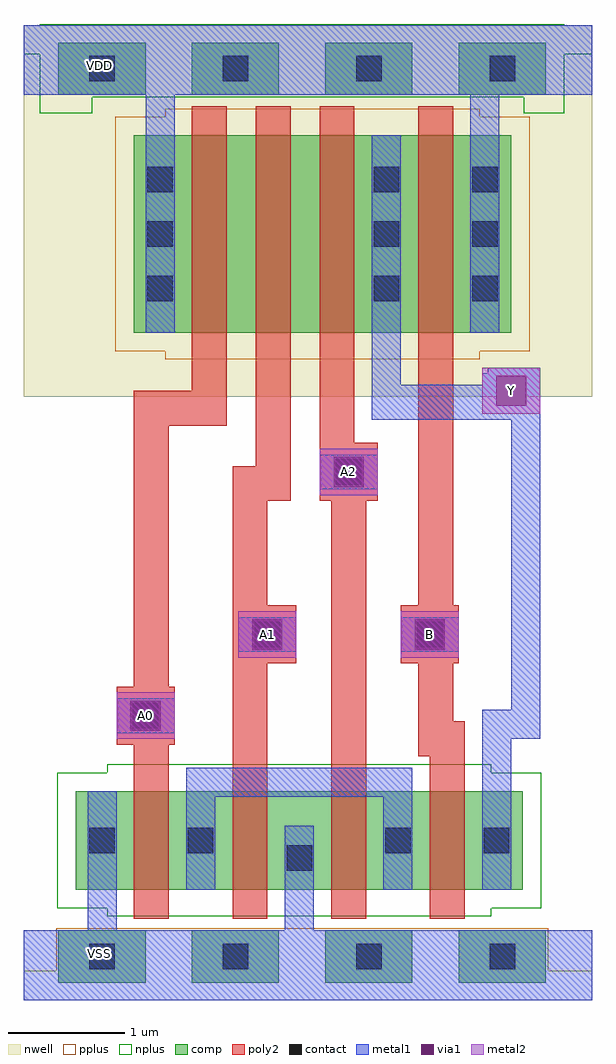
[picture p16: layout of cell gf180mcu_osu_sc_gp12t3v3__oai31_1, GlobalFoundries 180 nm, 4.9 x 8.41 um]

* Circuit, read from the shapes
.subckt gf180mcu_osu_sc_gp12t3v3__oai31_1 A0 A1 A2 B VDD VSS Y
XM1 n1 A0 VSS VSS nfet_03v3 w=0.85u l=0.3u
XM2 VSS A1 n1 VSS nfet_03v3 w=0.85u l=0.3u
XM3 n1 A2 VSS VSS nfet_03v3 w=0.85u l=0.3u
XM4 Y B n1 VSS nfet_03v3 w=0.85u l=0.3u
XM5 n2 A0 VDD VDD pfet_03v3 w=1.7u l=0.3u
XM6 n3 A1 n2 VDD pfet_03v3 w=1.7u l=0.3u
XM7 Y A2 n3 VDD pfet_03v3 w=1.7u l=0.3u
XM8 VDD B Y VDD pfet_03v3 w=1.7u l=0.3u
.ends

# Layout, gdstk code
import gdstk
lib = gdstk.Library(unit=1e-6, precision=1e-09)
def R(c, l, rs):  # rectangles x0, y0, x1, y1
    for r in rs: c.add(gdstk.rectangle(r[:2], r[2:], *l))
def A(c, l, x, y, w, h, nx, ny, dx, dy):  # array of equal rectangles
    R(c, l, [(x+i*dx, y+j*dy, x+i*dx+w, y+j*dy+h) for i in range(nx) for j in range(ny)])
nwell = (21, 0)
comp = (22, 0)
poly2 = (30, 0)
pplus = (31, 0)
nplus = (32, 0)
contact = (33, 0)
metal1 = (34, 0)
via1 = (35, 0)
metal2 = (36, 0)

gf180mcu_osu_sc_gp12t3v3 = lib.new_cell('gf180mcu_osu_sc_gp12t3v3__oai31_1')
R(gf180mcu_osu_sc_gp12t3v3, nwell, [(0,5.2,4.9,8.4)])
A(gf180mcu_osu_sc_gp12t3v3, comp, 0.3, 0.15, 0.75, 0.45, 4, 2, 1.15, 7.65)
R(gf180mcu_osu_sc_gp12t3v3, comp, [(0.45,0.95,4.3,1.8), (0.95,5.75,4.2,7.45)])
R(gf180mcu_osu_sc_gp12t3v3, poly2, [(0.95,0.7,1.25,2.2), (1.8,0.7,2.1,2.9), (2.65,0.7,2.95,4.3), (3.5,0.7,3.8,2.1), (3.4,2.1,3.8,2.4), (0.8,2.2,1.3,2.7), (3.4,2.4,3.7,2.9), (0.95,2.7,1.25,4.95), (1.8,2.9,2.35,3.4), (3.25,2.9,3.75,3.4), (1.8,3.4,2.1,4.3), (3.4,3.4,3.7,7.7), (1.8,4.3,2.3,4.6), (2.55,4.3,3.05,4.8), (2,4.6,2.3,7.7), (2.55,4.8,2.85,7.7), (0.95,4.95,1.75,5.25), (1.45,5.25,1.75,7.7)])
R(gf180mcu_osu_sc_gp12t3v3, pplus, [(0,0,4.9,0.25), (0.28,0.13,4.52,0.62), (1.22,5.52,3.93,5.59), (0.79,5.59,4.36,7.61), (1.22,7.61,3.93,7.68)])
R(gf180mcu_osu_sc_gp12t3v3, nplus, [(0.72,0.72,4.03,0.79), (0.29,0.79,4.46,1.96), (0.72,1.96,4.03,2.03), (0.14,7.64,0.59,7.78), (4.31,7.64,4.66,7.78), (0.14,7.78,4.66,8.15), (0,8.15,4.9,8.4), (0,8.15,4.9,8.4), (0.14,8.4,4.66,8.41)])
A(gf180mcu_osu_sc_gp12t3v3, contact, 0.565, 0.265, 0.22, 0.22, 4, 2, 1.15, 7.65)
A(gf180mcu_osu_sc_gp12t3v3, contact, 1.065, 6.02, 0.22, 0.22, 1, 3, 0, 0.47)
A(gf180mcu_osu_sc_gp12t3v3, contact, 3.015, 6.02, 0.22, 0.22, 1, 3, 0, 0.47)
A(gf180mcu_osu_sc_gp12t3v3, contact, 3.865, 6.02, 0.22, 0.22, 1, 3, 0, 0.47)
R(gf180mcu_osu_sc_gp12t3v3, contact, [(2.265,1.115,2.485,1.335), (0.565,1.265,0.785,1.485), (1.415,1.265,1.635,1.485), (3.115,1.265,3.335,1.485), (3.965,1.265,4.185,1.485), (0.94,2.34,1.16,2.56), (1.99,3.04,2.21,3.26), (3.39,3.04,3.61,3.26), (2.69,4.44,2.91,4.66)])
R(gf180mcu_osu_sc_gp12t3v3, metal1, [(0,0,4.9,0.6), (0.55,0.6,0.8,1.8), (2.25,0.6,2.5,1.5), (1.4,0.95,1.65,1.75), (3.1,0.95,3.35,1.75), (3.95,0.95,4.2,2.25), (1.4,1.75,3.35,2), (3.95,2.25,4.45,2.5), (0.8,2.3,1.3,2.6), (4.2,2.5,4.45,5), (1.85,3,2.35,3.3), (3.25,3,3.75,3.3), (2.55,4.4,3.05,4.7), (3,5,4.45,5.3), (3,5.3,3.25,7.45), (3.95,5.3,4.45,5.4), (4,5.4,4.45,5.45), (1.05,5.75,1.3,7.8), (3.85,5.75,4.1,7.8), (0,7.8,4.9,8.4)])
R(gf180mcu_osu_sc_gp12t3v3, via1, [(0.92,2.32,1.18,2.58), (1.97,3.02,2.23,3.28), (3.37,3.02,3.63,3.28), (2.67,4.42,2.93,4.68), (4.07,5.12,4.33,5.38)])
R(gf180mcu_osu_sc_gp12t3v3, metal2, [(0.8,2.25,1.3,2.65), (1.85,2.95,2.35,3.35), (3.25,2.95,3.75,3.35), (2.55,4.35,3.05,4.75), (3.95,5.05,4.45,5.45)])
gf180mcu_osu_sc_gp12t3v3.add(gdstk.Label('A0', (1.05,2.45), layer=36, texttype=10))
gf180mcu_osu_sc_gp12t3v3.add(gdstk.Label('A1', (2.1,3.15), layer=36, texttype=10))
gf180mcu_osu_sc_gp12t3v3.add(gdstk.Label('A2', (2.8,4.55), layer=36, texttype=10))
gf180mcu_osu_sc_gp12t3v3.add(gdstk.Label('B', (3.5,3.15), layer=36, texttype=10))
gf180mcu_osu_sc_gp12t3v3.add(gdstk.Label('Y', (4.2,5.25), layer=36, texttype=10))
gf180mcu_osu_sc_gp12t3v3.add(gdstk.Label('VDD', (0.65,8.05), layer=34, texttype=10))
gf180mcu_osu_sc_gp12t3v3.add(gdstk.Label('VSS', (0.65,0.4), layer=34, texttype=10))

lib.write_gds('gf180mcu_osu_sc_gp12t3v3__oai31_1.gds')
